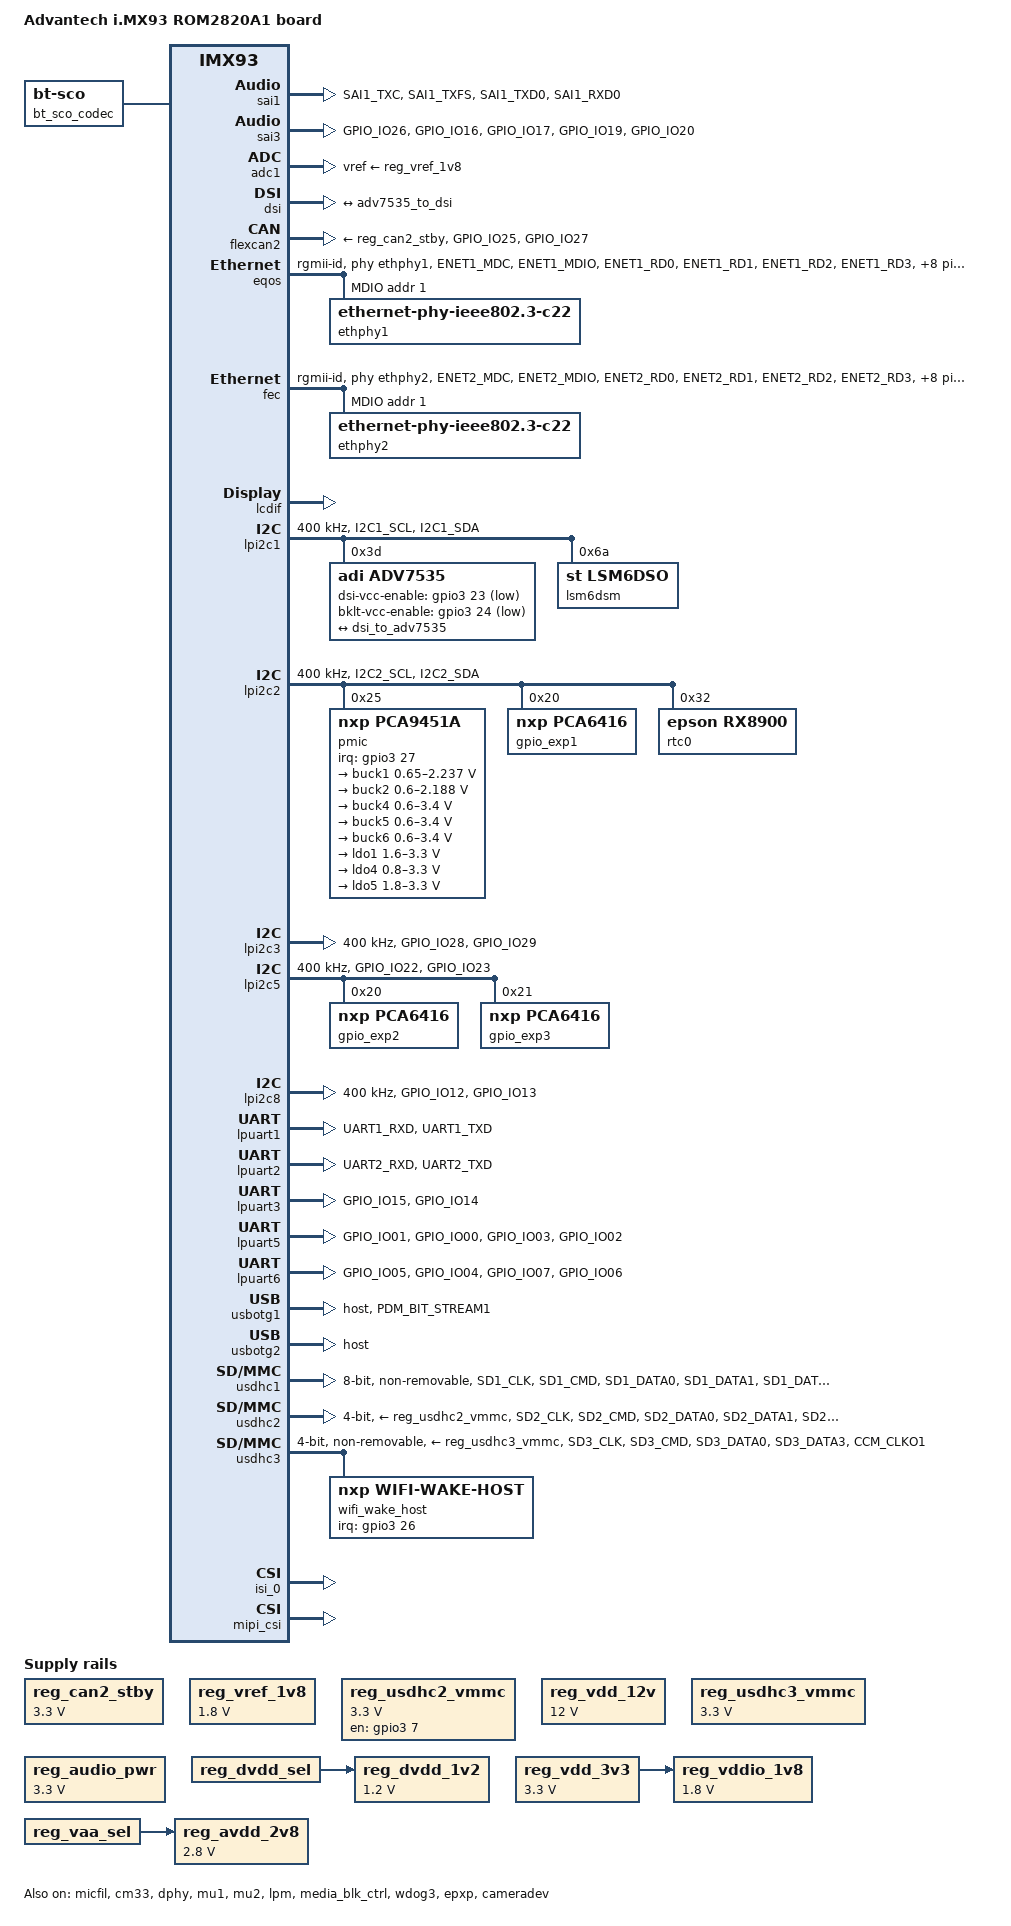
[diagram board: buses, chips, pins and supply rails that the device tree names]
// SPDX-License-Identifier: (GPL-2.0+ OR MIT)
/*
 * Copyright 2022 NXP
 */

/dts-v1/;

#include <dt-bindings/usb/pd.h>
#include "imx93.dtsi"

&ele_fw2 {
	memory-region = <&ele_reserved>;
};

/ {
	model = "Advantech i.MX93 ROM2820A1 board";
	compatible = "fsl,imx93-11x11-evk", "fsl,imx93";

	board {
		compatible = "proc-board";
		board-type = "ROM-2820 A1";
		board-cpu = "IMX93";
		};

	aliases {
		rtc0 = &rtc0;
		rtc1 = &bbnsm_rtc;
	};

	chosen {
		stdout-path = &lpuart1;
	};

	reserved-memory {
		#address-cells = <2>;
		#size-cells = <2>;
		ranges;

		linux,cma {
			compatible = "shared-dma-pool";
			reusable;
			alloc-ranges = <0 0x80000000 0 0x40000000>;
			size = <0 0x10000000>;
			linux,cma-default;
		};

		ethosu_mem: ethosu_region@C0000000 {
			compatible = "shared-dma-pool";
			reusable;
			reg = <0x0 0xC0000000 0x0 0x10000000>;
		};

		vdev0vring0: vdev0vring0@a4000000 {
			reg = <0 0xa4000000 0 0x8000>;
			no-map;
		};

		vdev0vring1: vdev0vring1@a4008000 {
			reg = <0 0xa4008000 0 0x8000>;
			no-map;
		};

		vdev1vring0: vdev1vring0@a4010000 {
			reg = <0 0xa4010000 0 0x8000>;
			no-map;
		};

		vdev1vring1: vdev1vring1@a4018000 {
			reg = <0 0xa4018000 0 0x8000>;
			no-map;
		};

		rsc_table: rsc-table@2021e000 {
			reg = <0 0x2021e000 0 0x1000>;
			no-map;
		};

		vdevbuffer: vdevbuffer@a4020000 {
			compatible = "shared-dma-pool";
			reg = <0 0xa4020000 0 0x100000>;
			no-map;
		};

		ele_reserved: ele-reserved@a4120000 {
			compatible = "shared-dma-pool";
			reg = <0 0xa4120000 0 0x100000>;
			no-map;
		};
	};

	ethosu {
		compatible = "arm,ethosu";
		fsl,cm33-proc = <&cm33>;
		memory-region = <&ethosu_mem>;
		power-domains = <&mlmix>;
	};

	reg_can2_stby: regulator-can2-stby {
		compatible = "regulator-fixed";
		regulator-name = "can2-stby";
		regulator-min-microvolt = <3300000>;
		regulator-max-microvolt = <3300000>;
		//gpio = <&adp5585gpio 5 GPIO_ACTIVE_LOW>;
		enable-active-low;
	};

	reg_vref_1v8: regulator-adc-vref {
		compatible = "regulator-fixed";
		regulator-name = "vref_1v8";
		regulator-min-microvolt = <1800000>;
		regulator-max-microvolt = <1800000>;
	};

	reg_usdhc2_vmmc: regulator-usdhc2 {
		compatible = "regulator-fixed";
		pinctrl-names = "default";
		pinctrl-0 = <&pinctrl_reg_usdhc2_vmmc>;
		regulator-name = "VSD_3V3";
		regulator-min-microvolt = <3300000>;
		regulator-max-microvolt = <3300000>;
		gpio = <&gpio3 7 GPIO_ACTIVE_HIGH>;
		off-on-delay-us = <12000>;
		enable-active-high;
	};

	reg_vdd_12v: regulator-vdd-12v {
		compatible = "regulator-fixed";
		regulator-name = "reg_vdd_12v";
		regulator-min-microvolt = <12000000>;
		regulator-max-microvolt = <12000000>;
		//gpio = <&pcal6524 14 GPIO_ACTIVE_HIGH>;
		enable-active-high;
	};

	reg_usdhc3_vmmc: regulator-usdhc3 {
		compatible = "regulator-fixed";
		regulator-name = "WLAN_EN";
		regulator-min-microvolt = <3300000>;
		regulator-max-microvolt = <3300000>;
		//gpio = <&pcal6524 20 GPIO_ACTIVE_HIGH>;
		/*
		 * IW612 wifi chip needs more delay than other wifi chips to complete
		 * the host interface initialization after power up, otherwise the
		 * internal state of IW612 may be unstable, resulting in the failure of
		 * the SDIO3.0 switch voltage.
		 */
		startup-delay-us = <20000>;
		enable-active-high;
	};

	usdhc3_pwrseq: usdhc3_pwrseq {
		compatible = "mmc-pwrseq-simple";
		//reset-gpios = <&pcal6524 12 GPIO_ACTIVE_LOW>;
	};

	reg_audio_pwr: regulator-audio-pwr {
		compatible = "regulator-fixed";
		regulator-name = "audio-pwr";
		regulator-min-microvolt = <3300000>;
		regulator-max-microvolt = <3300000>;
		//gpio = <&adp5585gpio 1 GPIO_ACTIVE_HIGH>;
		enable-active-high;
		regulator-always-on;
	};

	reg_dvdd_sel: regulator-dvdd_sel {
		compatible = "regulator-fixed";
		regulator-name = "DVDD_SEL";
		//gpio = <&adp5585gpio_isp 0 GPIO_ACTIVE_HIGH>;
		enable-active-high;
		startup-delay-us = <2000>;
	};

	reg_dvdd_1v2: regulator-dvdd {
		compatible = "regulator-fixed";
		regulator-name = "DVDD_1V2";
		//gpio = <&adp5585gpio_isp 6 GPIO_ACTIVE_HIGH>;
		regulator-min-microvolt = <1200000>;
		regulator-max-microvolt = <1200000>;
		enable-active-high;
		vin-supply = <&reg_dvdd_sel>;
	};

	reg_vdd_3v3: regulator-vdd {
		compatible = "regulator-fixed";
		regulator-name = "VDD_3V3";
		//gpio = <&adp5585gpio_isp 5 GPIO_ACTIVE_HIGH>;
		regulator-min-microvolt = <3300000>;
		regulator-max-microvolt = <3300000>;
		startup-delay-us = <4000>;
		enable-active-high;
	};

	reg_vddio_1v8: regulator-vddo {
		compatible = "regulator-fixed";
		regulator-name = "VDDIO_1V8";
		//gpio = <&adp5585gpio_isp 9 GPIO_ACTIVE_HIGH>;
		regulator-min-microvolt = <1800000>;
		regulator-max-microvolt = <1800000>;
		startup-delay-us = <4000>;
		enable-active-high;
		vin-supply = <&reg_vdd_3v3>;
	};

	reg_vaa_sel: regulator-vaa_sel {
		compatible = "regulator-fixed";
		regulator-name = "VAA_SEL";
		//gpio = <&adp5585gpio_isp 1 GPIO_ACTIVE_HIGH>;
		enable-active-high;
	};

	reg_avdd_2v8: regulator-avdd {
		compatible = "regulator-fixed";
		regulator-name = "AVDD_2V8";
		//gpio = <&adp5585gpio_isp 7 GPIO_ACTIVE_HIGH>;
		regulator-min-microvolt = <2800000>;
		regulator-max-microvolt = <2800000>;
		enable-active-high;
		vin-supply = <&reg_vaa_sel>;
	};

	bt_sco_codec: bt_sco_codec {
		#sound-dai-cells = <1>;
		compatible = "linux,bt-sco";
	};
};

&sai1 {
	#sound-dai-cells = <0>;
	pinctrl-names = "default", "sleep";
	pinctrl-0 = <&pinctrl_sai1>;
	pinctrl-1 = <&pinctrl_sai1_sleep>;
	assigned-clocks = <&clk IMX93_CLK_SAI1>;
	assigned-clock-parents = <&clk IMX93_CLK_AUDIO_PLL>;
	assigned-clock-rates = <12288000>;
	fsl,sai-mclk-direction-output;
	status = "okay";
};

&sai3 {
	pinctrl-names = "default", "sleep";
	pinctrl-0 = <&pinctrl_sai3>;
	pinctrl-1 = <&pinctrl_sai3_sleep>;
	assigned-clocks = <&clk IMX93_CLK_SAI3>;
	assigned-clock-parents = <&clk IMX93_CLK_AUDIO_PLL>;
	assigned-clock-rates = <12288000>;
	fsl,sai-mclk-direction-output;
	status = "okay";
};

&micfil {
	#sound-dai-cells = <0>;
	pinctrl-names = "default", "sleep";
	pinctrl-0 = <&pinctrl_pdm>;
	pinctrl-1 = <&pinctrl_pdm_sleep>;
	assigned-clocks = <&clk IMX93_CLK_PDM>;
	assigned-clock-parents = <&clk IMX93_CLK_AUDIO_PLL>;
	assigned-clock-rates = <49152000>;
	status = "okay";
};

&adc1 {
	vref-supply = <&reg_vref_1v8>;
	status = "okay";
};

&cm33 {
	mbox-names = "tx", "rx", "rxdb";
	mboxes = <&mu1 0 1>,
		 <&mu1 1 1>,
		 <&mu1 3 1>;
	memory-region = <&vdevbuffer>, <&vdev0vring0>, <&vdev0vring1>,
			<&vdev1vring0>, <&vdev1vring1>, <&rsc_table>;
	fsl,startup-delay-ms = <500>;
	status = "okay";
};

&dphy {
	status = "okay";
};

&dsi {
	status = "okay";

	ports {
		port@1 {
			reg = <1>;

			dsi_to_adv7535: endpoint {
				remote-endpoint = <&adv7535_to_dsi>;
			};
		};
	};
};

&flexcan2 {
	pinctrl-names = "default", "sleep";
	pinctrl-0 = <&pinctrl_flexcan2>;
	pinctrl-1 = <&pinctrl_flexcan2_sleep>;
	xceiver-supply = <&reg_can2_stby>;
	status = "okay";
};

&mu1 {
	status = "okay";
};

&mu2 {
	status = "okay";
};

&eqos {
	pinctrl-names = "default", "sleep";
	pinctrl-0 = <&pinctrl_eqos>;
	pinctrl-1 = <&pinctrl_eqos_sleep>;
	phy-mode = "rgmii-id";
	phy-handle = <&ethphy1>;
	status = "okay";

	mdio {
		compatible = "snps,dwmac-mdio";
		#address-cells = <1>;
		#size-cells = <0>;
		clock-frequency = <5000000>;

		ethphy1: ethernet-phy@1 {
			compatible = "ethernet-phy-ieee802.3-c22";
			reg = <1>;
			eee-broken-1000t;
		};
	};
};

&fec {
	pinctrl-names = "default", "sleep";
	pinctrl-0 = <&pinctrl_fec>;
	pinctrl-1 = <&pinctrl_fec_sleep>;
	phy-mode = "rgmii-id";
	phy-handle = <&ethphy2>;
	fsl,magic-packet;
	status = "okay";

	mdio {
		#address-cells = <1>;
		#size-cells = <0>;
		clock-frequency = <5000000>;

		ethphy2: ethernet-phy@2 {
			compatible = "ethernet-phy-ieee802.3-c22";
			reg = <1>;
			eee-broken-1000t;
		};
	};
};

&lcdif {
	status = "okay";
	assigned-clock-rates = <445333333>, <148444444>, <400000000>, <133333333>;
};

&lpm {
	soc-supply = <&buck1>;
	status = "okay";
};

/*
 * When add, delete or change any target device setting in &lpi2c1,
 * please synchronize the changes to the &i3c1 bus in imx93-11x11-evk-i3c.dts.
 */
&lpi2c1 {
	#address-cells = <1>;
	#size-cells = <0>;
	clock-frequency = <400000>;
	pinctrl-names = "default", "sleep";
	pinctrl-0 = <&pinctrl_lpi2c1>;
	pinctrl-1 = <&pinctrl_lpi2c1>;
	status = "okay";

	adv7535: hdmi@3d {
		compatible = "adi,adv7535";
		reg = <0x3d>;
		adi,addr-cec = <0x3b>;
		adi,dsi-lanes = <4>;
		status = "okay";
		pinctrl-names = "default";
		pinctrl-0 = <&pinctrl_dsi>;
		dsi-vcc-enable-gpio = <&gpio3 23 GPIO_ACTIVE_LOW>;	/* DISP_BL_EN */
		bklt-vcc-enable-gpio = <&gpio3 24 GPIO_ACTIVE_LOW>;	/* DSIP_VDD_EN */

		port {
			adv7535_to_dsi: endpoint {
				remote-endpoint = <&dsi_to_adv7535>;
			};
		};
	};

	lsm6dsm@6a {
		compatible = "st,lsm6dso";
		reg = <0x6a>;
	};
};

&lpi2c2 {
	#address-cells = <1>;
	#size-cells = <0>;
	clock-frequency = <400000>;
	pinctrl-names = "default", "sleep";
	pinctrl-0 = <&pinctrl_lpi2c2>;
	pinctrl-1 = <&pinctrl_lpi2c2>;
	status = "okay";

	pmic@25 {
		compatible = "nxp,pca9451a";
		reg = <0x25>;
		pinctrl-names = "default";
		pinctrl-0 = <&pinctrl_pmic>;
		interrupt-parent = <&gpio3>;
		interrupts = <27 IRQ_TYPE_LEVEL_LOW>;

		regulators {
			buck1: BUCK1 {
				regulator-name = "BUCK1";
				regulator-min-microvolt = <650000>;
				regulator-max-microvolt = <2237500>;
				regulator-boot-on;
				regulator-always-on;
				regulator-ramp-delay = <3125>;
			};

			buck2: BUCK2 {
				regulator-name = "BUCK2";
				regulator-min-microvolt = <600000>;
				regulator-max-microvolt = <2187500>;
				regulator-boot-on;
				regulator-always-on;
				regulator-ramp-delay = <3125>;
			};

			buck4: BUCK4{
				regulator-name = "BUCK4";
				regulator-min-microvolt = <600000>;
				regulator-max-microvolt = <3400000>;
				regulator-boot-on;
				regulator-always-on;
			};

			buck5: BUCK5{
				regulator-name = "BUCK5";
				regulator-min-microvolt = <600000>;
				regulator-max-microvolt = <3400000>;
				regulator-boot-on;
				regulator-always-on;
			};

			buck6: BUCK6 {
				regulator-name = "BUCK6";
				regulator-min-microvolt = <600000>;
				regulator-max-microvolt = <3400000>;
				regulator-boot-on;
				regulator-always-on;
			};

			ldo1: LDO1 {
				regulator-name = "LDO1";
				regulator-min-microvolt = <1600000>;
				regulator-max-microvolt = <3300000>;
				regulator-boot-on;
				regulator-always-on;
			};

			ldo4: LDO4 {
				regulator-name = "LDO4";
				regulator-min-microvolt = <800000>;
				regulator-max-microvolt = <3300000>;
				regulator-boot-on;
				regulator-always-on;
			};

			ldo5: LDO5 {
				regulator-name = "LDO5";
				regulator-min-microvolt = <1800000>;
				regulator-max-microvolt = <3300000>;
				regulator-boot-on;
				regulator-always-on;
			};
		};
	};

	gpio_exp1: tca9538@20 {
               compatible = "nxp,pca6416";
               reg = <0x20>;
               gpio-controller;
               #gpio-cells = <2>;
               //reset-gpios = <&gpio3 25 GPIO_ACTIVE_LOW>;
       };

	rtc0: rx8900@32 {
		compatible = "epson,rx8900";
		reg = <0x32>;
		epson,vdet-disable;
		trickle-diode-disable;
		status = "okay";
	};

};

&lpi2c3 {
	#address-cells = <1>;
	#size-cells = <0>;
	clock-frequency = <400000>;
	pinctrl-names = "default", "sleep";
	pinctrl-0 = <&pinctrl_lpi2c3>;
	pinctrl-1 = <&pinctrl_lpi2c3>;
	status = "okay";
};

&lpi2c5 {
        #address-cells = <1>;
        #size-cells = <0>;
        clock-frequency = <400000>;
        pinctrl-names = "default", "sleep";
        pinctrl-0 = <&pinctrl_lpi2c5>;
        pinctrl-1 = <&pinctrl_lpi2c5>;
        status = "okay";

	gpio_exp2: tca9538@20 {
		compatible = "nxp,pca6416";
		reg = <0x20>;
		gpio-controller;
		#gpio-cells = <2>;
	};

	gpio_exp3: tca9538@21 {
		compatible = "nxp,pca6416";
		reg = <0x21>;
		gpio-controller;
		#gpio-cells = <2>;
	};
};

&lpi2c8 {
        #address-cells = <1>;
        #size-cells = <0>;
        clock-frequency = <400000>;
        pinctrl-names = "default", "sleep";
        pinctrl-0 = <&pinctrl_lpi2c8>;
        pinctrl-1 = <&pinctrl_lpi2c8>;
        status = "okay";
};

&lpuart1 { /* console */
	pinctrl-names = "default";
	pinctrl-0 = <&pinctrl_uart1>;
	status = "okay";
};

&lpuart2 {
        pinctrl-names = "default";
        pinctrl-0 = <&pinctrl_uart2>;
        status = "okay";
};

&lpuart3 {
        pinctrl-names = "default";
        pinctrl-0 = <&pinctrl_uart3>;
        status = "okay";
};

&lpuart5 {
        pinctrl-names = "default";
        pinctrl-0 = <&pinctrl_uart5>;
        status = "okay";
};

&lpuart6 {
        pinctrl-names = "default";
        pinctrl-0 = <&pinctrl_uart6>;
        status = "okay";
};

&media_blk_ctrl {
	status = "okay";
};

&usbotg1 {
	pinctrl-names = "default", "sleep";
	pinctrl-0 = <&pinctrl_usb_en>;
	dr_mode = "host";
	hnp-disable;
	srp-disable;
	adp-disable;
	usb-role-switch;
	disable-over-current;
	samsung,picophy-pre-emp-curr-control = <3>;
	samsung,picophy-dc-vol-level-adjust = <7>;
	gpio = <&gpio1 10 GPIO_ACTIVE_HIGH>;
	status = "okay";
};

&usbotg2 {
	dr_mode = "host";
	hnp-disable;
	srp-disable;
	adp-disable;
	usb-role-switch;
	disable-over-current;
	samsung,picophy-pre-emp-curr-control = <3>;
	samsung,picophy-dc-vol-level-adjust = <7>;
	status = "okay";
};

&usdhc1 {
	pinctrl-names = "default", "state_100mhz", "state_200mhz";
	pinctrl-0 = <&pinctrl_usdhc1>;
	pinctrl-1 = <&pinctrl_usdhc1_100mhz>;
	pinctrl-2 = <&pinctrl_usdhc1_200mhz>;
	bus-width = <8>;
	non-removable;
	status = "okay";
};

&usdhc2 {
	pinctrl-names = "default", "state_100mhz", "state_200mhz", "sleep";
	pinctrl-0 = <&pinctrl_usdhc2>, <&pinctrl_usdhc2_gpio>;
	pinctrl-1 = <&pinctrl_usdhc2_100mhz>, <&pinctrl_usdhc2_gpio>;
	pinctrl-2 = <&pinctrl_usdhc2_200mhz>, <&pinctrl_usdhc2_gpio>;
	pinctrl-3 = <&pinctrl_usdhc2_sleep>, <&pinctrl_usdhc2_gpio_sleep>;
	cd-gpios = <&gpio3 00 GPIO_ACTIVE_LOW>;
	fsl,cd-gpio-wakeup-disable;
	vmmc-supply = <&reg_usdhc2_vmmc>;
	bus-width = <4>;
	status = "okay";
	no-sdio;
	no-mmc;
};

&usdhc3 {
	pinctrl-names = "default", "state_100mhz", "state_200mhz", "sleep";
	pinctrl-0 = <&pinctrl_usdhc3>, <&pinctrl_usdhc3_wlan>;
	pinctrl-1 = <&pinctrl_usdhc3_100mhz>, <&pinctrl_usdhc3_wlan>;
	pinctrl-2 = <&pinctrl_usdhc3_200mhz>, <&pinctrl_usdhc3_wlan>;
	pinctrl-3 = <&pinctrl_usdhc3_sleep>, <&pinctrl_usdhc3_wlan>;
	mmc-pwrseq = <&usdhc3_pwrseq>;
	vmmc-supply = <&reg_usdhc3_vmmc>;
	//pinctrl-assert-gpios = <&pcal6524 13 GPIO_ACTIVE_HIGH>;
	bus-width = <4>;
	keep-power-in-suspend;
	non-removable;
	wakeup-source;
	status = "okay";

	wifi_wake_host {
		compatible = "nxp,wifi-wake-host";
		interrupt-parent = <&gpio3>;
		interrupts = <26 IRQ_TYPE_LEVEL_LOW>;
		interrupt-names = "host-wake";
	};
};

&wdog3 {
	status = "okay";
};

&iomuxc {
	pinctrl_eqos: eqosgrp {
		fsl,pins = <
			MX93_PAD_ENET1_MDC__ENET_QOS_MDC			0x57e
			MX93_PAD_ENET1_MDIO__ENET_QOS_MDIO			0x57e
			MX93_PAD_ENET1_RD0__ENET_QOS_RGMII_RD0			0x57e
			MX93_PAD_ENET1_RD1__ENET_QOS_RGMII_RD1			0x57e
			MX93_PAD_ENET1_RD2__ENET_QOS_RGMII_RD2			0x57e
			MX93_PAD_ENET1_RD3__ENET_QOS_RGMII_RD3			0x57e
			MX93_PAD_ENET1_RXC__CCM_ENET_QOS_CLOCK_GENERATE_RX_CLK	0x58e
			MX93_PAD_ENET1_RX_CTL__ENET_QOS_RGMII_RX_CTL		0x57e
			MX93_PAD_ENET1_TD0__ENET_QOS_RGMII_TD0			0x57e
			MX93_PAD_ENET1_TD1__ENET_QOS_RGMII_TD1			0x57e
			MX93_PAD_ENET1_TD2__ENET_QOS_RGMII_TD2			0x57e
			MX93_PAD_ENET1_TD3__ENET_QOS_RGMII_TD3			0x57e
			MX93_PAD_ENET1_TXC__CCM_ENET_QOS_CLOCK_GENERATE_TX_CLK	0x58e
			MX93_PAD_ENET1_TX_CTL__ENET_QOS_RGMII_TX_CTL		0x57e
		>;
	};

	pinctrl_eqos_sleep: eqosgrpsleep {
		fsl,pins = <
			MX93_PAD_ENET1_MDC__GPIO4_IO00				0x31e
			MX93_PAD_ENET1_MDIO__GPIO4_IO01				0x31e
			MX93_PAD_ENET1_RD0__GPIO4_IO10                          0x31e
			MX93_PAD_ENET1_RD1__GPIO4_IO11				0x31e
			MX93_PAD_ENET1_RD2__GPIO4_IO12				0x31e
			MX93_PAD_ENET1_RD3__GPIO4_IO13				0x31e
			MX93_PAD_ENET1_RXC__GPIO4_IO09                          0x31e
			MX93_PAD_ENET1_RX_CTL__GPIO4_IO08			0x31e
			MX93_PAD_ENET1_TD0__GPIO4_IO05                          0x31e
			MX93_PAD_ENET1_TD1__GPIO4_IO04                          0x31e
			MX93_PAD_ENET1_TD2__GPIO4_IO03				0x31e
			MX93_PAD_ENET1_TD3__GPIO4_IO02				0x31e
			MX93_PAD_ENET1_TXC__GPIO4_IO07                          0x31e
			MX93_PAD_ENET1_TX_CTL__GPIO4_IO06                       0x31e
		>;
	};

	pinctrl_fec: fecgrp {
		fsl,pins = <
			MX93_PAD_ENET2_MDC__ENET1_MDC			0x57e
			MX93_PAD_ENET2_MDIO__ENET1_MDIO			0x57e
			MX93_PAD_ENET2_RD0__ENET1_RGMII_RD0		0x57e
			MX93_PAD_ENET2_RD1__ENET1_RGMII_RD1		0x57e
			MX93_PAD_ENET2_RD2__ENET1_RGMII_RD2		0x57e
			MX93_PAD_ENET2_RD3__ENET1_RGMII_RD3		0x57e
			MX93_PAD_ENET2_RXC__ENET1_RGMII_RXC		0x58e
			MX93_PAD_ENET2_RX_CTL__ENET1_RGMII_RX_CTL	0x57e
			MX93_PAD_ENET2_TD0__ENET1_RGMII_TD0		0x57e
			MX93_PAD_ENET2_TD1__ENET1_RGMII_TD1		0x57e
			MX93_PAD_ENET2_TD2__ENET1_RGMII_TD2		0x57e
			MX93_PAD_ENET2_TD3__ENET1_RGMII_TD3		0x57e
			MX93_PAD_ENET2_TXC__ENET1_RGMII_TXC		0x58e
			MX93_PAD_ENET2_TX_CTL__ENET1_RGMII_TX_CTL	0x57e
		>;
	};

	pinctrl_fec_sleep: fecsleepgrp {
		fsl,pins = <
			MX93_PAD_ENET2_MDC__GPIO4_IO14			0x51e
			MX93_PAD_ENET2_MDIO__GPIO4_IO15			0x51e
			MX93_PAD_ENET2_RD0__GPIO4_IO24			0x51e
			MX93_PAD_ENET2_RD1__GPIO4_IO25			0x51e
			MX93_PAD_ENET2_RD2__GPIO4_IO26			0x51e
			MX93_PAD_ENET2_RD3__GPIO4_IO27			0x51e
			MX93_PAD_ENET2_RXC__GPIO4_IO23                  0x51e
			MX93_PAD_ENET2_RX_CTL__GPIO4_IO22		0x51e
			MX93_PAD_ENET2_TD0__GPIO4_IO19			0x51e
			MX93_PAD_ENET2_TD1__GPIO4_IO18			0x51e
			MX93_PAD_ENET2_TD2__GPIO4_IO17			0x51e
			MX93_PAD_ENET2_TD3__GPIO4_IO16			0x51e
			MX93_PAD_ENET2_TXC__GPIO4_IO21                  0x51e
			MX93_PAD_ENET2_TX_CTL__GPIO4_IO20               0x51e
		>;
	};

	pinctrl_flexcan2: flexcan2grp {
		fsl,pins = <
			MX93_PAD_GPIO_IO25__CAN2_TX	0x139e
			MX93_PAD_GPIO_IO27__CAN2_RX	0x139e
		>;
	};
	pinctrl_flexcan2_sleep: flexcan2sleepgrp {
		fsl,pins = <
			MX93_PAD_GPIO_IO25__GPIO2_IO25  0x31e
			MX93_PAD_GPIO_IO27__GPIO2_IO27	0x31e
		>;
	};


	pinctrl_lpi2c1: lpi2c1grp {
		fsl,pins = <
			MX93_PAD_I2C1_SCL__LPI2C1_SCL			0x40000b9e
			MX93_PAD_I2C1_SDA__LPI2C1_SDA			0x40000b9e
		>;
	};

	pinctrl_lpi2c2: lpi2c2grp {
		fsl,pins = <
			MX93_PAD_I2C2_SCL__LPI2C2_SCL			0x40000b9e
			MX93_PAD_I2C2_SDA__LPI2C2_SDA			0x40000b9e
		>;
	};

	pinctrl_lpi2c3: lpi2c3grp {
		fsl,pins = <
			MX93_PAD_GPIO_IO28__LPI2C3_SDA			0x40000b9e
			MX93_PAD_GPIO_IO29__LPI2C3_SCL			0x40000b9e
		>;
	};

	pinctrl_lpi2c5: lpi2c5grp {
                fsl,pins = <
                        MX93_PAD_GPIO_IO22__LPI2C5_SDA                  0x40000b9e
                        MX93_PAD_GPIO_IO23__LPI2C5_SCL                  0x40000b9e
                >;
        };

	pinctrl_lpi2c8: lpi2c8grp {
                fsl,pins = <
                        MX93_PAD_GPIO_IO12__LPI2C8_SDA                  0x40000b9e
                        MX93_PAD_GPIO_IO13__LPI2C8_SCL                  0x40000b9e
                >;
        };

	pinctrl_uart1: uart1grp {
		fsl,pins = <
			MX93_PAD_UART1_RXD__LPUART1_RX			0x31e
			MX93_PAD_UART1_TXD__LPUART1_TX			0x31e
		>;
	};


	pinctrl_uart2: uart2grp {
                fsl,pins = <
                        MX93_PAD_UART2_RXD__LPUART2_RX                  0x31e
                        MX93_PAD_UART2_TXD__LPUART2_TX                  0x31e
                >;
        };

	pinctrl_uart3: uart3grp {
                fsl,pins = <
                        MX93_PAD_GPIO_IO15__LPUART3_RX                  0x31e
                        MX93_PAD_GPIO_IO14__LPUART3_TX                  0x31e
                >;
        };

	pinctrl_uart5: uart5grp {
                fsl,pins = <
                        MX93_PAD_GPIO_IO01__LPUART5_RX                  0x31e
                        MX93_PAD_GPIO_IO00__LPUART5_TX                  0x31e
			MX93_PAD_GPIO_IO03__LPUART5_RTS_B		0x31e
			MX93_PAD_GPIO_IO02__LPUART5_CTS_B		0x31e
                >;
        };

	pinctrl_uart6: uart6grp {
                fsl,pins = <
                        MX93_PAD_GPIO_IO05__LPUART6_RX                  0x31e
                        MX93_PAD_GPIO_IO04__LPUART6_TX                  0x31e
			MX93_PAD_GPIO_IO07__LPUART6_RTS_B		0x31e
			MX93_PAD_GPIO_IO06__LPUART6_CTS_B               0x31e
                >;
        };

	pinctrl_usb_en: usbengrp {
                fsl,pins = <
			MX93_PAD_PDM_BIT_STREAM1__GPIO1_IO10		0x31e	/* USB1_OTG_EN */
                >;
        };

	/* need to config the SION for data and cmd pad, refer to ERR052021 */
	pinctrl_usdhc1: usdhc1grp {
		fsl,pins = <
			MX93_PAD_SD1_CLK__USDHC1_CLK		0x1582
			MX93_PAD_SD1_CMD__USDHC1_CMD		0x40001382
			MX93_PAD_SD1_DATA0__USDHC1_DATA0	0x40001382
			MX93_PAD_SD1_DATA1__USDHC1_DATA1	0x40001382
			MX93_PAD_SD1_DATA2__USDHC1_DATA2	0x40001382
			MX93_PAD_SD1_DATA3__USDHC1_DATA3	0x40001382
			MX93_PAD_SD1_DATA4__USDHC1_DATA4	0x40001382
			MX93_PAD_SD1_DATA5__USDHC1_DATA5	0x40001382
			MX93_PAD_SD1_DATA6__USDHC1_DATA6	0x40001382
			MX93_PAD_SD1_DATA7__USDHC1_DATA7	0x40001382
			MX93_PAD_SD1_STROBE__USDHC1_STROBE	0x1582
		>;
	};

	/* need to config the SION for data and cmd pad, refer to ERR052021 */
	pinctrl_usdhc1_100mhz: usdhc1-100mhzgrp {
		fsl,pins = <
			MX93_PAD_SD1_CLK__USDHC1_CLK		0x158e
			MX93_PAD_SD1_CMD__USDHC1_CMD		0x4000138e
			MX93_PAD_SD1_DATA0__USDHC1_DATA0	0x4000138e
			MX93_PAD_SD1_DATA1__USDHC1_DATA1	0x4000138e
			MX93_PAD_SD1_DATA2__USDHC1_DATA2	0x4000138e
			MX93_PAD_SD1_DATA3__USDHC1_DATA3	0x4000138e
			MX93_PAD_SD1_DATA4__USDHC1_DATA4	0x4000138e
			MX93_PAD_SD1_DATA5__USDHC1_DATA5	0x4000138e
			MX93_PAD_SD1_DATA6__USDHC1_DATA6	0x4000138e
			MX93_PAD_SD1_DATA7__USDHC1_DATA7	0x4000138e
			MX93_PAD_SD1_STROBE__USDHC1_STROBE	0x158e
		>;
	};

	/* need to config the SION for data and cmd pad, refer to ERR052021 */
	pinctrl_usdhc1_200mhz: usdhc1-200mhzgrp {
		fsl,pins = <
			MX93_PAD_SD1_CLK__USDHC1_CLK		0x15fe
			MX93_PAD_SD1_CMD__USDHC1_CMD		0x400013fe
			MX93_PAD_SD1_DATA0__USDHC1_DATA0	0x400013fe
			MX93_PAD_SD1_DATA1__USDHC1_DATA1	0x400013fe
			MX93_PAD_SD1_DATA2__USDHC1_DATA2	0x400013fe
			MX93_PAD_SD1_DATA3__USDHC1_DATA3	0x400013fe
			MX93_PAD_SD1_DATA4__USDHC1_DATA4	0x400013fe
			MX93_PAD_SD1_DATA5__USDHC1_DATA5	0x400013fe
			MX93_PAD_SD1_DATA6__USDHC1_DATA6	0x400013fe
			MX93_PAD_SD1_DATA7__USDHC1_DATA7	0x400013fe
			MX93_PAD_SD1_STROBE__USDHC1_STROBE	0x15fe
		>;
	};

	pinctrl_reg_usdhc2_vmmc: regusdhc2vmmcgrp {
		fsl,pins = <
			MX93_PAD_SD2_RESET_B__GPIO3_IO07	0x31e
		>;
	};

	pinctrl_usdhc2_gpio: usdhc2gpiogrp {
		fsl,pins = <
			MX93_PAD_SD2_CD_B__GPIO3_IO00		0x31e
		>;
	};

	pinctrl_usdhc2_gpio_sleep: usdhc2gpiogrpsleep {
		fsl,pins = <
			MX93_PAD_SD2_CD_B__GPIO3_IO00		0x51e
		>;
	};

	/* need to config the SION for data and cmd pad, refer to ERR052021 */
	pinctrl_usdhc2: usdhc2grp {
		fsl,pins = <
			MX93_PAD_SD2_CLK__USDHC2_CLK		0x1582
			MX93_PAD_SD2_CMD__USDHC2_CMD		0x40001382
			MX93_PAD_SD2_DATA0__USDHC2_DATA0	0x40001382
			MX93_PAD_SD2_DATA1__USDHC2_DATA1	0x40001382
			MX93_PAD_SD2_DATA2__USDHC2_DATA2	0x40001382
			MX93_PAD_SD2_DATA3__USDHC2_DATA3	0x40001382
			MX93_PAD_SD2_VSELECT__USDHC2_VSELECT	0x51e
		>;
	};

	/* need to config the SION for data and cmd pad, refer to ERR052021 */
	pinctrl_usdhc2_100mhz: usdhc2-100mhzgrp {
		fsl,pins = <
			MX93_PAD_SD2_CLK__USDHC2_CLK		0x158e
			MX93_PAD_SD2_CMD__USDHC2_CMD		0x4000138e
			MX93_PAD_SD2_DATA0__USDHC2_DATA0	0x4000138e
			MX93_PAD_SD2_DATA1__USDHC2_DATA1	0x4000138e
			MX93_PAD_SD2_DATA2__USDHC2_DATA2	0x4000138e
			MX93_PAD_SD2_DATA3__USDHC2_DATA3	0x4000138e
			MX93_PAD_SD2_VSELECT__USDHC2_VSELECT	0x51e
		>;
	};

	/* need to config the SION for data and cmd pad, refer to ERR052021 */
	pinctrl_usdhc2_200mhz: usdhc2-200mhzgrp {
		fsl,pins = <
			MX93_PAD_SD2_CLK__USDHC2_CLK		0x15fe
			MX93_PAD_SD2_CMD__USDHC2_CMD		0x400013fe
			MX93_PAD_SD2_DATA0__USDHC2_DATA0	0x400013fe
			MX93_PAD_SD2_DATA1__USDHC2_DATA1	0x400013fe
			MX93_PAD_SD2_DATA2__USDHC2_DATA2	0x400013fe
			MX93_PAD_SD2_DATA3__USDHC2_DATA3	0x400013fe
			MX93_PAD_SD2_VSELECT__USDHC2_VSELECT	0x51e
		>;
	};

	pinctrl_usdhc2_sleep: usdhc2grpsleep {
		fsl,pins = <
			MX93_PAD_SD2_CLK__GPIO3_IO01            0x51e
			MX93_PAD_SD2_CMD__GPIO3_IO02		0x51e
			MX93_PAD_SD2_DATA0__GPIO3_IO03		0x51e
			MX93_PAD_SD2_DATA1__GPIO3_IO04		0x51e
			MX93_PAD_SD2_DATA2__GPIO3_IO05		0x51e
			MX93_PAD_SD2_DATA3__GPIO3_IO06		0x51e
			MX93_PAD_SD2_VSELECT__GPIO3_IO19	0x51e
		>;
	};

	/* need to config the SION for data and cmd pad, refer to ERR052021 */
	pinctrl_usdhc3: usdhc3grp {
		fsl,pins = <
			MX93_PAD_SD3_CLK__USDHC3_CLK		0x1582
			MX93_PAD_SD3_CMD__USDHC3_CMD		0x40001382
			MX93_PAD_SD3_DATA0__USDHC3_DATA0	0x40001382
			MX93_PAD_SD3_DATA3__USDHC3_DATA3	0x40001382
		>;
	};

	/* need to config the SION for data and cmd pad, refer to ERR052021 */
	pinctrl_usdhc3_100mhz: usdhc3-100mhzgrp {
		fsl,pins = <
			MX93_PAD_SD3_CLK__USDHC3_CLK		0x158e
			MX93_PAD_SD3_CMD__USDHC3_CMD		0x4000138e
			MX93_PAD_SD3_DATA0__USDHC3_DATA0	0x4000138e
			MX93_PAD_SD3_DATA3__USDHC3_DATA3	0x4000138e
		>;
	};

	/* need to config the SION for data and cmd pad, refer to ERR052021 */
	pinctrl_usdhc3_200mhz: usdhc3-200mhzgrp {
		fsl,pins = <
			MX93_PAD_SD3_CLK__USDHC3_CLK		0x15fe
			MX93_PAD_SD3_CMD__USDHC3_CMD		0x400013fe
			MX93_PAD_SD3_DATA0__USDHC3_DATA0	0x400013fe
			MX93_PAD_SD3_DATA3__USDHC3_DATA3	0x400013fe
		>;
	};

	pinctrl_usdhc3_sleep: usdhc3grpsleep {
		fsl,pins = <
			MX93_PAD_SD3_CLK__GPIO3_IO20		0x31e
			MX93_PAD_SD3_CMD__GPIO3_IO21		0x31e
			MX93_PAD_SD3_DATA0__GPIO3_IO22		0x31e
			MX93_PAD_SD3_DATA3__GPIO3_IO25		0x31e
		>;
	};

	pinctrl_usdhc3_wlan: usdhc3wlangrp {
		fsl,pins = <
			MX93_PAD_CCM_CLKO1__GPIO3_IO26		0x31e
		>;
	};

	pinctrl_sai1: sai1grp {
		fsl,pins = <
			MX93_PAD_SAI1_TXC__SAI1_TX_BCLK			0x31e
			MX93_PAD_SAI1_TXFS__SAI1_TX_SYNC		0x31e
			MX93_PAD_SAI1_TXD0__SAI1_TX_DATA00		0x31e
			MX93_PAD_SAI1_RXD0__SAI1_RX_DATA00		0x31e
		>;
	};

	pinctrl_sai1_sleep: sai1grpsleep {
		fsl,pins = <
			MX93_PAD_SAI1_TXC__GPIO1_IO12                   0x51e
			MX93_PAD_SAI1_TXFS__GPIO1_IO11			0x51e
			MX93_PAD_SAI1_TXD0__GPIO1_IO13			0x51e
			MX93_PAD_SAI1_RXD0__GPIO1_IO14			0x51e
		>;
	};

	pinctrl_sai3: sai3grp {
		fsl,pins = <
			MX93_PAD_GPIO_IO26__SAI3_TX_SYNC		0x31e
			MX93_PAD_GPIO_IO16__SAI3_TX_BCLK		0x31e
			MX93_PAD_GPIO_IO17__SAI3_MCLK			0x31e
			MX93_PAD_GPIO_IO19__SAI3_TX_DATA00		0x31e
			MX93_PAD_GPIO_IO20__SAI3_RX_DATA00		0x31e
		>;
	};

	pinctrl_sai3_sleep: sai3grpsleep {
		fsl,pins = <
			MX93_PAD_GPIO_IO26__GPIO2_IO26			0x51e
			MX93_PAD_GPIO_IO16__GPIO2_IO16			0x51e
			MX93_PAD_GPIO_IO17__GPIO2_IO17			0x51e
			MX93_PAD_GPIO_IO19__GPIO2_IO19			0x51e
			MX93_PAD_GPIO_IO20__GPIO2_IO20			0x51e
		>;
	};

	pinctrl_pdm: pdmgrp {
		fsl,pins = <
			MX93_PAD_PDM_CLK__PDM_CLK			0x31e
			MX93_PAD_PDM_BIT_STREAM0__PDM_BIT_STREAM00	0x31e
			MX93_PAD_PDM_BIT_STREAM1__PDM_BIT_STREAM01	0x31e
		>;
	};

	pinctrl_pdm_sleep: pdmgrpsleep {
		fsl,pins = <
			MX93_PAD_PDM_CLK__GPIO1_IO08			0x31e
			MX93_PAD_PDM_BIT_STREAM0__GPIO1_IO09		0x31e
			MX93_PAD_PDM_BIT_STREAM1__GPIO1_IO10		0x31e
		>;
	};

	pinctrl_dsi: dsigrp {
		fsl,pins = <
			MX93_PAD_SD3_DATA2__GPIO3_IO24            0x31e
			MX93_PAD_SD3_DATA1__GPIO3_IO23            0x31e
		>;
	};

	pinctrl_pmic: pmicgrp {
                fsl,pins = <
                        MX93_PAD_CCM_CLKO2__CCMSRCGPCMIX_CLKO2            0x31e
                >;
	};
};

&epxp {
	status = "okay";
};

&cameradev {
	status = "okay";
};

&isi_0 {
	status = "okay";

	cap_device {
		status = "okay";
	};
};

&mipi_csi {
	status = "okay";

	port {
		mipi_csi_ep: endpoint {
			//remote-endpoint = <&ar1302_mipi_ep>;
			data-lanes = <2>;
			cfg-clk-range = <28>;
			hs-clk-range = <0x2b>;
			bus-type = <4>;
		};
	};
};
